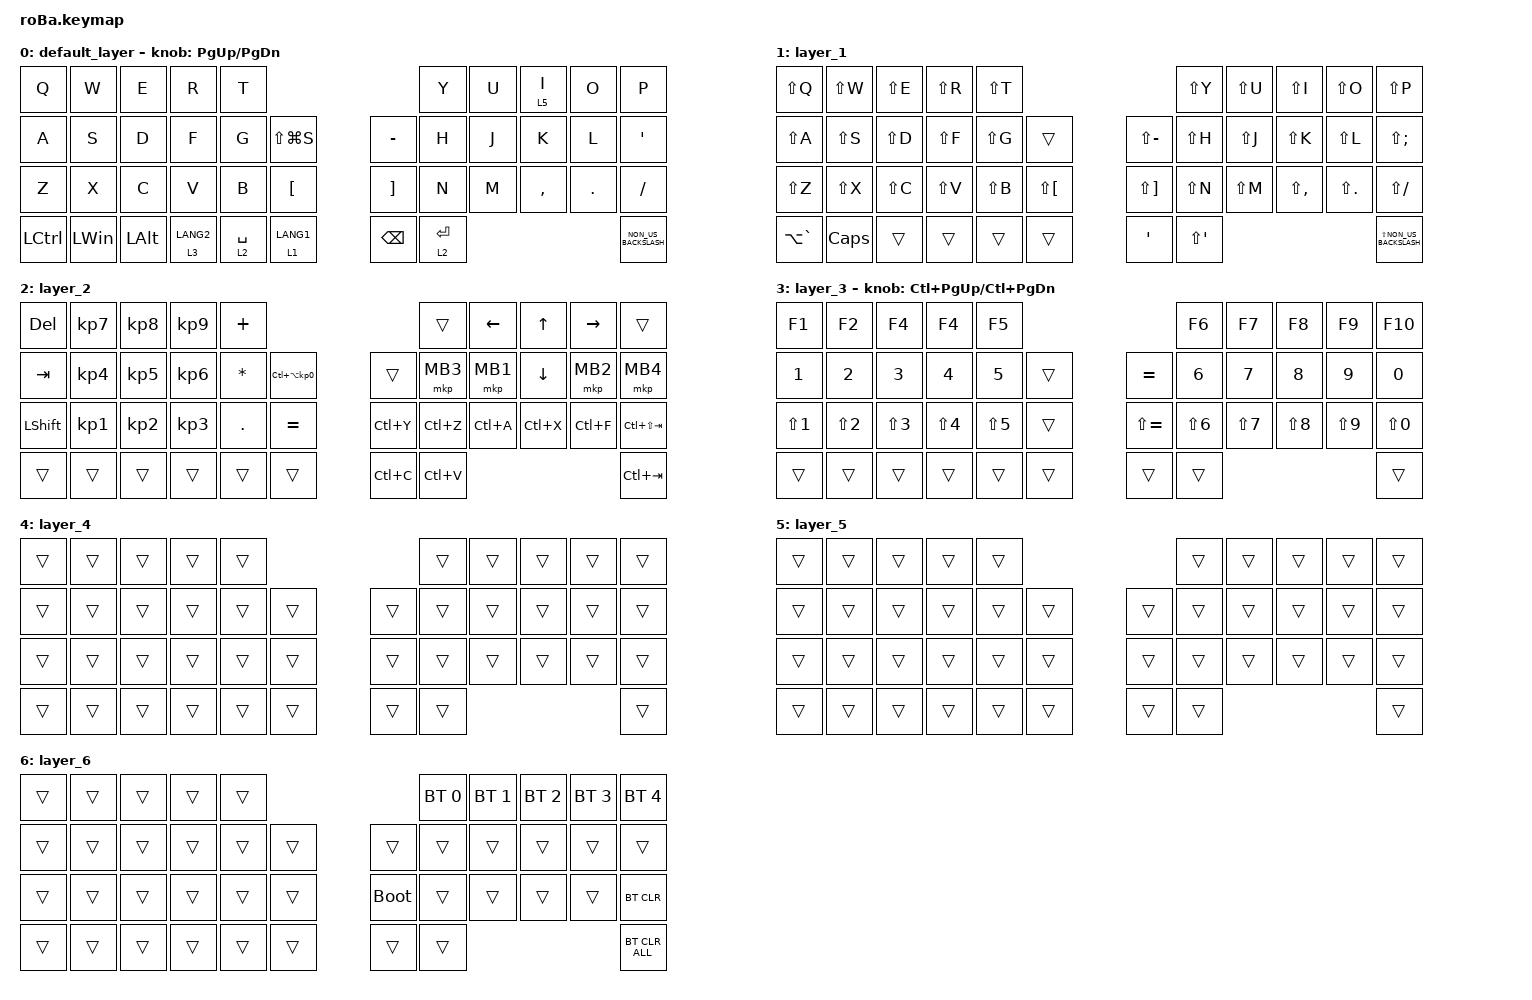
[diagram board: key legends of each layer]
#include <behaviors.dtsi>
#include <dt-bindings/zmk/bt.h>
#include <dt-bindings/zmk/keys.h>
#include <dt-bindings/zmk/pointing.h>
#include <input/processors.dtsi>


&trackball_listener {
   
    scroller {
        layers = <3>;
        input-processors = <&zip_xy_to_scroll_mapper>;
    };
};
&mt {
    flavor = "balanced";
    quick-tap-ms = <0>;
};

&trackball {
    automouse-layer = <4>;
    scroll-layers = <5>;

    

        tick = <10>;
        wait-ms = <5>;
        tap-ms = <5>;
    };
};

/ {
    combos {
        compatible = "zmk,combos";

        tab {
            bindings = <&kp TAB>;
            key-positions = <11 12>;
        };

        shift_tab {
            bindings = <&kp LS(TAB)>;
            key-positions = <12 13>;
        };

        muhennkann {
            bindings = <&to_layer_0 INT_MUHENKAN>;
            key-positions = <11 10>;
        };

        double_quotation {
            bindings = <&kp DOUBLE_QUOTES>;
            key-positions = <20 21>;
        };

        eq {
            bindings = <&kp EQUAL>;
            key-positions = <24 25>;
        };
    };

    macros {
        to_layer_0: to_layer_0 {
            compatible = "zmk,behavior-macro-one-param";
            #binding-cells = <1>;
            bindings = <&to 0 &macro_param_1to1 &kp MACRO_PLACEHOLDER>;
            label = "TO_LAYER_0";
        };
    };

    behaviors {
        lt_to_layer_0: lt_to_layer_0 {
            compatible = "zmk,behavior-hold-tap";
            label = "LAYER_TAP_TO_0";
            bindings = <&mo>, <&to_layer_0>;

            #binding-cells = <2>;
            tapping-term-ms = <200>;
        };
    };

    keymap {
        compatible = "zmk,keymap";

        default_layer {
            bindings = <
&kp Q      &kp W         &kp E         &kp R                   &kp T                                                       &kp Y        &kp U  &lt 5 I    &kp O    &kp P
&kp A      &kp S         &kp D         &kp F                   &kp G        &kp LS(LG(S))               &kp MINUS          &kp H        &kp J  &kp K      &kp L    &kp SQT
&kp Z      &kp X         &kp C         &kp V                   &kp B        &kp LEFT_BRACKET            &kp RIGHT_BRACKET  &kp N        &kp M  &kp COMMA  &kp DOT  &kp SLASH
&kp LCTRL  &kp LEFT_WIN  &kp LEFT_ALT  &lt_to_layer_0 3 LANG2  &lt 2 SPACE  &lt_to_layer_0 1 LANG1      &kp BACKSPACE      &lt 2 ENTER                             &kp NON_US_BACKSLASH
            >;

            sensor-bindings = <&inc_dec_kp PG_UP PAGE_DOWN>;
        };

        layer_1 {
            bindings = <
&kp LS(Q)      &kp LS(W)  &kp LS(E)  &kp LS(R)  &kp LS(T)                                                   &kp LS(Y)    &kp LS(U)  &kp LS(I)      &kp LS(O)       &kp LS(P)
&kp LS(A)      &kp LS(S)  &kp LS(D)  &kp LS(F)  &kp LS(G)  &trans                    &kp LS(MINUS)          &kp LS(H)    &kp LS(J)  &kp LS(K)      &kp LS(L)       &kp LS(SEMICOLON)
&kp LS(Z)      &kp LS(X)  &kp LS(C)  &kp LS(V)  &kp LS(B)  &kp LS(LEFT_BRACKET)      &kp LS(RIGHT_BRACKET)  &kp LS(N)    &kp LS(M)  &kp LS(COMMA)  &kp LS(PERIOD)  &kp LS(SLASH)
&kp LA(GRAVE)  &kp CAPS   &trans     &trans     &trans     &trans                    &kp SQT                &kp LS(SQT)                                            &kp LS(NON_US_BACKSLASH)
            >;
        };

        layer_2 {
            bindings = <
&kp DELETE      &kp KP_NUMBER_7  &kp KP_NUMBER_8  &kp KP_NUMBER_9  &kp PLUS                                              &trans     &kp LEFT   &kp UP_ARROW  &kp RIGHT  &trans
&kp TAB         &kp KP_NUMBER_4  &kp KP_NUMBER_5  &kp KP_NUMBER_6  &kp ASTERISK  &kp LC(LA(KP_NUMBER_0))      &trans     &mkp MB3   &mkp MB1   &kp DOWN      &mkp MB2   &mkp MB4
&kp LEFT_SHIFT  &kp KP_NUMBER_1  &kp KP_NUMBER_2  &kp KP_NUMBER_3  &kp PERIOD    &kp EQUAL                    &kp LC(Y)  &kp LC(Z)  &kp LC(A)  &kp LC(X)     &kp LC(F)  &kp LC(LS(TAB))
&trans          &trans           &trans           &trans           &trans        &trans                       &kp LC(C)  &kp LC(V)                                      &kp LC(TAB)
            >;
        };

        layer_3 {
            bindings = <
&kp F1            &kp F2            &kp F4            &kp F4            &kp F5                                       &kp F6            &kp F7            &kp F8            &kp F9            &kp F10
&kp NUMBER_1      &kp NUMBER_2      &kp NUMBER_3      &kp NUMBER_4      &kp NUMBER_5      &trans      &kp EQUAL      &kp NUMBER_6      &kp NUMBER_7      &kp NUMBER_8      &kp NUMBER_9      &kp NUMBER_0
&kp LS(NUMBER_1)  &kp LS(NUMBER_2)  &kp LS(NUMBER_3)  &kp LS(NUMBER_4)  &kp LS(NUMBER_5)  &trans      &kp LS(EQUAL)  &kp LS(NUMBER_6)  &kp LS(NUMBER_7)  &kp LS(NUMBER_8)  &kp LS(NUMBER_9)  &kp LS(NUMBER_0)
&trans            &trans            &trans            &trans            &trans            &trans      &trans         &trans                                                                  &trans
            >;

            sensor-bindings = <&inc_dec_kp LC(PAGE_UP) LC(PAGE_DOWN)>;
        };

        layer_4 {
            bindings = <
&trans  &trans  &trans  &trans  &trans                      &trans  &trans  &trans  &trans  &trans
&trans  &trans  &trans  &trans  &trans  &trans      &trans  &trans  &trans  &trans  &trans  &trans
&trans  &trans  &trans  &trans  &trans  &trans      &trans  &trans  &trans  &trans  &trans  &trans
&trans  &trans  &trans  &trans  &trans  &trans      &trans  &trans                          &trans
            >;
        };

        layer_5 {
            bindings = <
&trans  &trans  &trans  &trans  &trans                      &trans  &trans  &trans  &trans  &trans
&trans  &trans  &trans  &trans  &trans  &trans      &trans  &trans  &trans  &trans  &trans  &trans
&trans  &trans  &trans  &trans  &trans  &trans      &trans  &trans  &trans  &trans  &trans  &trans
&trans  &trans  &trans  &trans  &trans  &trans      &trans  &trans                          &trans
            >;
        };

        layer_6 {
            bindings = <
&trans  &trans  &trans  &trans  &trans                           &bt BT_SEL 0  &bt BT_SEL 1  &bt BT_SEL 2  &bt BT_SEL 3  &bt BT_SEL 4
&trans  &trans  &trans  &trans  &trans  &trans      &trans       &trans        &trans        &trans        &trans        &trans
&trans  &trans  &trans  &trans  &trans  &trans      &bootloader  &trans        &trans        &trans        &trans        &bt BT_CLR
&trans  &trans  &trans  &trans  &trans  &trans      &trans       &trans                                                  &bt BT_CLR_ALL
            >;
        };
    };
};
